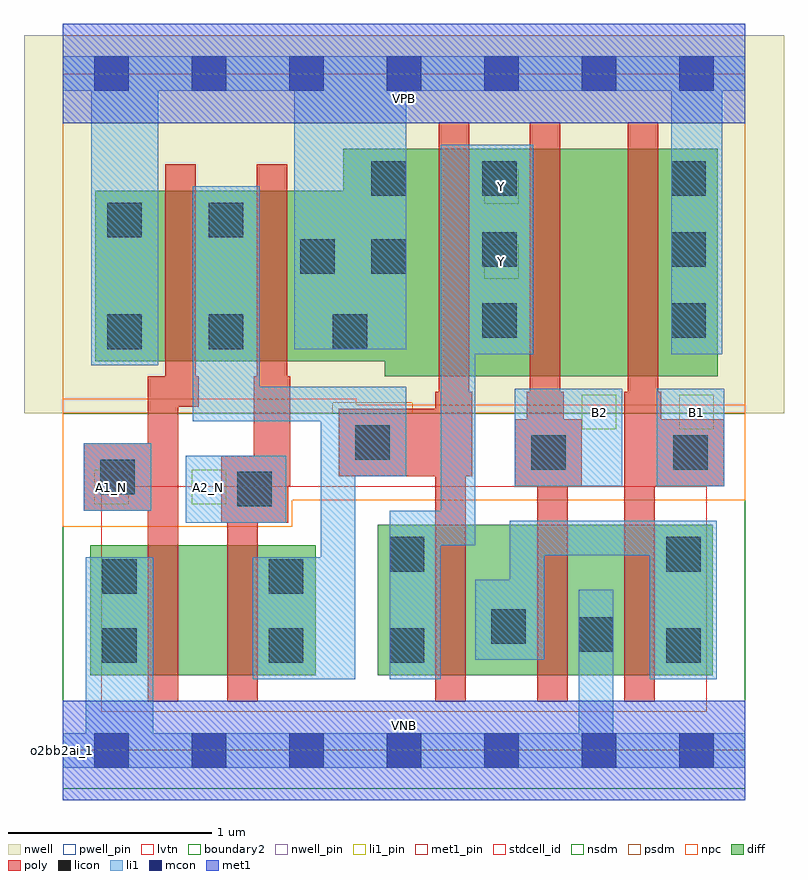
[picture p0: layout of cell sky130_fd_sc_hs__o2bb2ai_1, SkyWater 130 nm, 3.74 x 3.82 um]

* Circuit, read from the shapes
.subckt sky130_fd_sc_hs__o2bb2ai_1 A1_N A2_N B1 B2 VGND VNB VPB VPWR Y
XM1 n1 A1_N VGND VNB sky130_fd_pr__nfet_01v8_lvt w=0.64 l=0.15
XM2 n2 A2_N n1 VNB sky130_fd_pr__nfet_01v8_lvt w=0.64 l=0.15
XM3 n3 n2 Y VNB sky130_fd_pr__nfet_01v8_lvt w=0.74 l=0.15
XM4 VGND B2 n3 VNB sky130_fd_pr__nfet_01v8_lvt w=0.74 l=0.15
XM5 n3 B1 VGND VNB sky130_fd_pr__nfet_01v8_lvt w=0.74 l=0.15
XM6 n2 A1_N VPWR VPB sky130_fd_pr__pfet_01v8 w=0.84 l=0.15
XM7 VPWR A2_N n2 VPB sky130_fd_pr__pfet_01v8 w=0.84 l=0.15
XM8 Y n2 VPWR VPB sky130_fd_pr__pfet_01v8 w=1.12 l=0.15
XM9 n4 B2 Y VPB sky130_fd_pr__pfet_01v8 w=1.12 l=0.15
XM10 VPWR B1 n4 VPB sky130_fd_pr__pfet_01v8 w=1.12 l=0.15
.ends

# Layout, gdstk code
import gdstk
lib = gdstk.Library(unit=1e-6, precision=1e-09)
def R(c, l, rs):  # rectangles x0, y0, x1, y1
    for r in rs: c.add(gdstk.rectangle(r[:2], r[2:], *l))
def A(c, l, x, y, w, h, nx, ny, dx, dy):  # array of equal rectangles
    R(c, l, [(x+i*dx, y+j*dy, x+i*dx+w, y+j*dy+h) for i in range(nx) for j in range(ny)])
def P(c, l, *ps):  # polygons
    for p in ps: c.add(gdstk.Polygon(p, *l))
nwell_pin = (64, 16)
nwell = (64, 20)
diff = (65, 20)
poly = (66, 20)
licon = (66, 44)
li1_pin = (67, 16)
li1 = (67, 20)
mcon = (67, 44)
met1_pin = (68, 16)
met1 = (68, 20)
stdcell_id = (81, 4)
nsdm = (93, 44)
psdm = (94, 20)
npc = (95, 20)
pwell_pin = (122, 16)
lvtn = (125, 44)
boundary2 = (236, 0)

sky130_fd_sc_hs__o2bb2ai = lib.new_cell('sky130_fd_sc_hs__o2bb2ai_1')
R(sky130_fd_sc_hs__o2bb2ai, nwell_pin, [(0,3.085,3.36,3.33)])
R(sky130_fd_sc_hs__o2bb2ai, nwell, [(-0.19,1.66,3.55,3.52)])
R(sky130_fd_sc_hs__o2bb2ai, diff, [(0.135,0.37,1.245,1.01), (1.55,0.37,3.2,1.11)])
P(sky130_fd_sc_hs__o2bb2ai, diff, [(3.225,2.96),(1.38,2.96),(1.38,2.755),(0.16,2.755),(0.16,1.915),(1.585,1.915),(1.585,1.84),(3.225,1.84)])
P(sky130_fd_sc_hs__o2bb2ai, poly, [(0.67,1.84),(0.655,1.84),(0.655,2.885),(0.505,2.885),(0.505,1.84),(0.42,1.84),(0.42,1.51),(0.105,1.51),(0.105,1.18),(0.42,1.18),(0.42,0.24),(0.57,0.24),(0.57,1.69),(0.67,1.69)],
  [(1.12,1.84),(1.105,1.84),(1.105,2.885),(0.955,2.885),(0.955,1.84),(0.94,1.84),(0.94,1.45),(0.78,1.45),(0.78,1.12),(0.81,1.12),(0.81,0.24),(0.96,0.24),(0.96,1.12),(1.11,1.12),(1.11,1.3),(1.12,1.3)],
  [(2.015,1.765),(2,1.765),(2,3.09),(1.85,3.09),(1.85,1.765),(1.835,1.765),(1.835,1.68),(1.36,1.68),(1.36,1.35),(1.835,1.35),(1.835,0.24),(1.985,0.24),(1.985,1.35),(2.015,1.35)],
  [(2.555,1.63),(2.465,1.63),(2.465,1.765),(2.45,1.765),(2.45,3.09),(2.3,3.09),(2.3,1.765),(2.285,1.765),(2.285,1.63),(2.225,1.63),(2.225,1.3),(2.335,1.3),(2.335,0.24),(2.485,0.24),(2.485,1.3),(2.555,1.3)],
  [(3.255,1.63),(2.945,1.63),(2.945,1.765),(2.93,1.765),(2.93,3.09),(2.78,3.09),(2.78,1.765),(2.765,1.765),(2.765,0.24),(2.915,0.24),(2.915,1.3),(3.255,1.3)])
A(sky130_fd_sc_hs__o2bb2ai, licon, 2.065, 2.03, 0.17, 0.17, 1, 3, 0, 0.35)
A(sky130_fd_sc_hs__o2bb2ai, licon, 2.995, 2.03, 0.17, 0.17, 1, 3, 0, 0.35)
R(sky130_fd_sc_hs__o2bb2ai, licon, [(0.195,0.43,0.365,0.6), (1.015,0.43,1.185,0.6), (1.61,0.43,1.78,0.6), (2.97,0.43,3.14,0.6), (2.54,0.485,2.71,0.655), (2.11,0.525,2.28,0.695), (0.195,0.77,0.365,0.94), (1.015,0.77,1.185,0.94), (1.61,0.88,1.78,1.05), (2.97,0.88,3.14,1.05), (0.86,1.2,1.03,1.37), (0.185,1.26,0.355,1.43), (2.305,1.38,2.475,1.55), (3.005,1.38,3.175,1.55), (1.44,1.43,1.61,1.6), (0.22,1.975,0.39,2.145), (0.72,1.975,0.89,2.145), (1.33,1.975,1.5,2.145), (1.17,2.345,1.34,2.515), (1.52,2.345,1.69,2.515), (0.22,2.525,0.39,2.695), (0.72,2.525,0.89,2.695), (1.52,2.73,1.69,2.9)])
R(sky130_fd_sc_hs__o2bb2ai, li1_pin, [(0.155,1.21,0.325,1.38), (0.635,1.21,0.805,1.38), (2.555,1.58,2.725,1.75), (3.035,1.58,3.205,1.75), (2.075,2.32,2.245,2.49), (2.075,2.69,2.245,2.86)])
R(sky130_fd_sc_hs__o2bb2ai, li1, [(0.605,1.12,1.1,1.45), (0.105,1.18,0.435,1.51), (2.225,1.3,2.755,1.78), (2.925,1.3,3.255,1.78)])
P(sky130_fd_sc_hs__o2bb2ai, li1, [(0.14,1.895),(0.14,3.245),(0,3.245),(0,3.415),(3.36,3.415),(3.36,3.245),(3.245,3.245),(3.245,1.95),(2.995,1.95),(2.995,3.245),(1.69,3.245),(1.69,1.975),(1.14,1.975),(1.14,3.245),(0.47,3.245),(0.47,1.895)],
  [(0.115,0.085),(0.115,0.95),(0.445,0.95),(0.445,0.085),(2.54,0.085),(2.54,0.79),(2.71,0.79),(2.71,0.085),(3.36,0.085),(3.36,-0.085),(0,-0.085),(0,0.085)],
  [(2.2,1.13),(3.22,1.13),(3.22,0.35),(2.89,0.35),(2.89,0.96),(2.37,0.96),(2.37,0.445),(2.03,0.445),(2.03,0.84),(2.2,0.84)],
  [(0.935,0.35),(0.935,0.95),(1.27,0.95),(1.27,1.62),(0.64,1.62),(0.64,2.775),(0.97,2.775),(0.97,1.79),(1.69,1.79),(1.69,1.35),(1.44,1.35),(1.44,0.35)],
  [(1.86,1.18),(1.86,2.98),(2.315,2.98),(2.315,1.95),(2.03,1.95),(2.03,1.01),(1.86,1.01),(1.86,0.35),(1.61,0.35),(1.61,1.18)])
A(sky130_fd_sc_hs__o2bb2ai, mcon, 0.155, -0.085, 0.17, 0.17, 7, 2, 0.48, 3.33)
R(sky130_fd_sc_hs__o2bb2ai, met1_pin, [(0,0,3.36,0.245), (0,3.085,3.36,3.33)])
R(sky130_fd_sc_hs__o2bb2ai, met1, [(0,-0.245,3.36,0.245), (0,3.085,3.36,3.575)])
R(sky130_fd_sc_hs__o2bb2ai, stdcell_id, [(0,0,3.36,3.33)])
R(sky130_fd_sc_hs__o2bb2ai, nsdm, [(0,-0.19,3.36,1.66)])
P(sky130_fd_sc_hs__o2bb2ai, psdm, [(3.36,3.52),(0,3.52),(0,1.66),(1.33,1.66),(1.33,1.71),(1.72,1.71),(1.72,1.66),(3.36,1.66)])
P(sky130_fd_sc_hs__o2bb2ai, npc, [(3.36,1.7),(1.445,1.7),(1.445,1.73),(0,1.73),(0,1.1),(1.13,1.1),(1.13,1.23),(3.36,1.23)])
R(sky130_fd_sc_hs__o2bb2ai, pwell_pin, [(0,0,3.36,0.245)])
R(sky130_fd_sc_hs__o2bb2ai, lvtn, [(0.19,0.19,3.17,1.3)])
R(sky130_fd_sc_hs__o2bb2ai, boundary2, [(0,0,3.36,3.33)])
sky130_fd_sc_hs__o2bb2ai.add(gdstk.Label('o2bb2ai_1', (0,0), layer=83, texttype=44))
sky130_fd_sc_hs__o2bb2ai.add(gdstk.Label('VNB', (1.68,0.123), layer=64, texttype=59))
sky130_fd_sc_hs__o2bb2ai.add(gdstk.Label('VPB', (1.68,3.208), layer=64, texttype=5))
sky130_fd_sc_hs__o2bb2ai.add(gdstk.Label('VPWR', (1.68,3.208), layer=68, texttype=5))
sky130_fd_sc_hs__o2bb2ai.add(gdstk.Label('VGND', (1.68,0.123), layer=68, texttype=5))
sky130_fd_sc_hs__o2bb2ai.add(gdstk.Label('Y', (2.16,2.405), layer=67, texttype=5))
sky130_fd_sc_hs__o2bb2ai.add(gdstk.Label('Y', (2.16,2.775), layer=67, texttype=5))
sky130_fd_sc_hs__o2bb2ai.add(gdstk.Label('B2', (2.64,1.665), layer=67, texttype=5))
sky130_fd_sc_hs__o2bb2ai.add(gdstk.Label('A1_N', (0.24,1.295), layer=67, texttype=5))
sky130_fd_sc_hs__o2bb2ai.add(gdstk.Label('B1', (3.12,1.665), layer=67, texttype=5))
sky130_fd_sc_hs__o2bb2ai.add(gdstk.Label('A2_N', (0.72,1.295), layer=67, texttype=5))

lib.write_gds('sky130_fd_sc_hs__o2bb2ai_1.gds')
